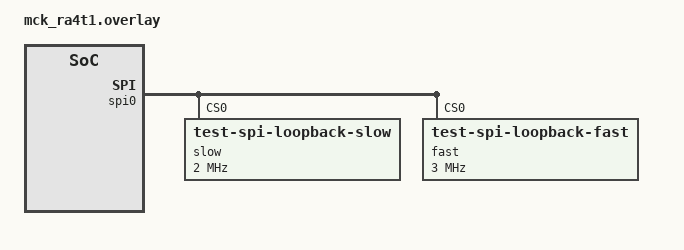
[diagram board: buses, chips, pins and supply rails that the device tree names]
/*
 * Copyright (c) 2025 Renesas Electronics Corporation
 *
 * SPDX-License-Identifier: Apache-2.0
 */

tst_dma0: &dma0 {
	status = "okay";
	interrupts = <95 1>, <94 1>, <93 1>;
	interrupt-names = "ch0", "ch1", "ch2";
};

&spi0 {
	rx-dtc;
	tx-dtc;
	status = "okay";
	slow@0 {
		compatible = "test-spi-loopback-slow";
		reg = <0>;
		spi-max-frequency = <2000000>;
	};
	fast@0 {
		compatible = "test-spi-loopback-fast";
		reg = <0>;
		spi-max-frequency = <3000000>;
	};
};
